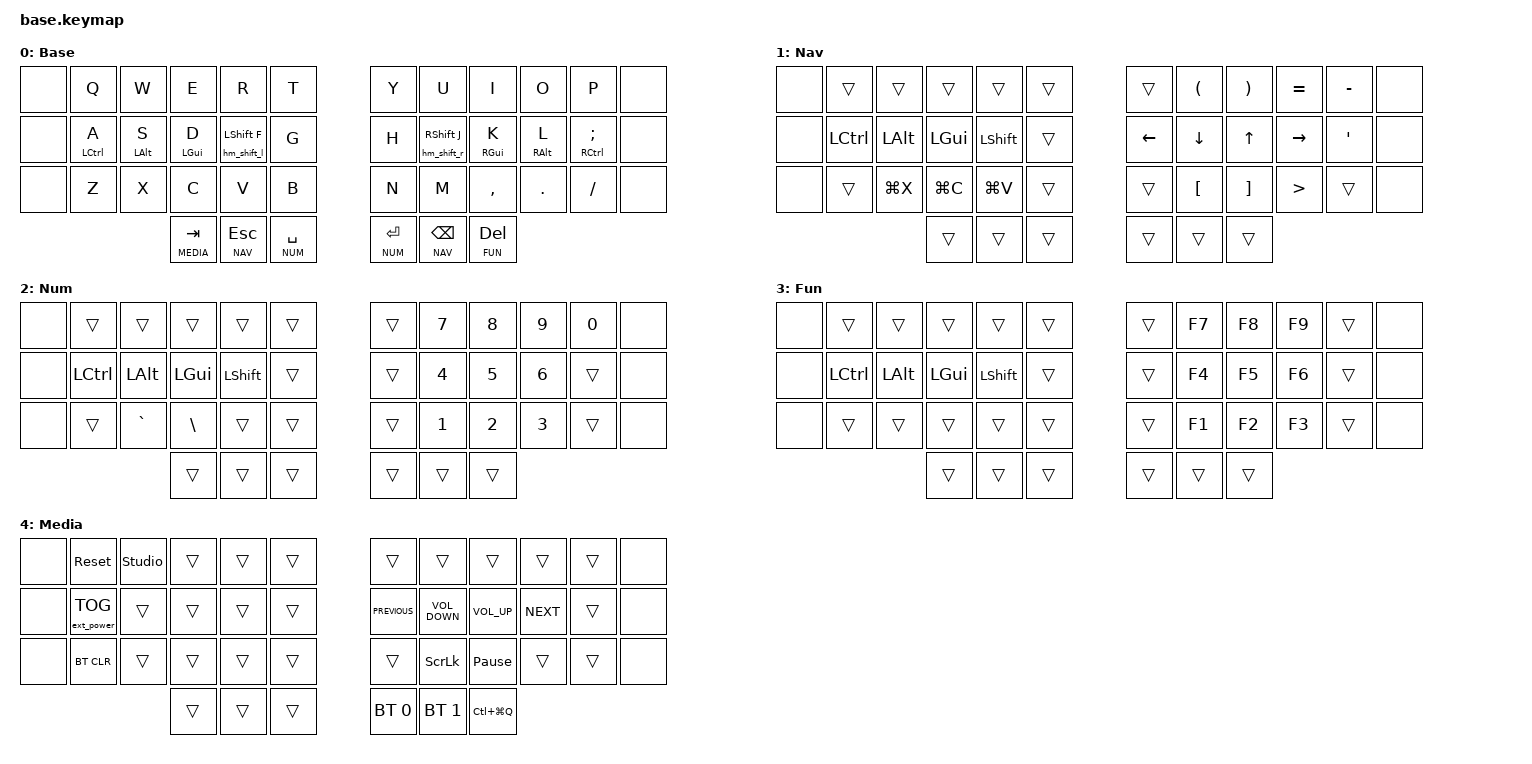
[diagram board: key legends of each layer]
#define BASE 0
#define NAV 1
#define NUM 2
#define FUN 3
#define MEDIA 4

#include <behaviors.dtsi>
#include <dt-bindings/zmk/keys.h>
#include <dt-bindings/zmk/bt.h>
#include <dt-bindings/zmk/ext_power.h>


#include "includes/behaviours_homerow_mods.dtsi"

/ {

  keymap {
    compatible = "zmk,keymap";

    Base_layer {
      display-name = "Base";
      bindings = <
// ╭─────────────────────── ┬────────────────────────┬────────────────────────┬────────────────────────┬────────────────────────┬────────────────────────╮    ╭────────────────────────┬────────────────────────┬────────────────────────┬───────────────────────┬─────────────────────── ┬────────────────────────╮
     &none                     &kp Q                    &kp W                    &kp E                    &kp R                    &kp T                         &kp Y                    &kp U                    &kp I                    &kp O                   &kp P                    &none
// ├─────────────────────── ┼────────────────────────┼────────────────────────┼────────────────────────┼────────────────────────┼────────────────────────┤    ├────────────────────────┼────────────────────────┼────────────────────────┼───────────────────────┼─────────────────────── ┼────────────────────────┤
     &none                     &hm_l LCTRL A            &hm_l LALT S             &hm_l LGUI D             &hm_shift_l LSHFT F      &kp G                         &kp H                    &hm_shift_r RSHFT J      &hm_r RGUI K             &hm_r RALT L            &hm_r RCTRL SEMI         &none
// ├─────────────────────── ┼────────────────────────┼────────────────────────┼────────────────────────┼────────────────────────┼────────────────────────┤    ├────────────────────────┼────────────────────────┼────────────────────────┼───────────────────────┼─────────────────────── ┼────────────────────────┤
     &none                     &kp Z                    &kp X                    &kp C                    &kp V                    &kp B                         &kp N                    &kp M                    &kp COMMA                &kp DOT                &kp SLASH                 &none
// ╰─────────────────────── ┴────────────────────────┴────────────────────────┴────────────────────────┼────────────────────────┼────────────────────────┤    ├────────────────────────┼────────────────────────┼────────────────────────┼───────────────────────┼─────────────────────── ┼────────────────────────╯
                                                                                 &lt MEDIA TAB              &lt NAV ESC             &lt NUM SPACE                  &lt NUM RETURN           &lt NAV BACKSPACE       &lt FUN DELETE
//                                                                            ╰────────────────────────┴────────────────────────┴────────────────────────╯    ╰────────────────────────┴────────────────────────┴────────────────────────╯

      >;
    };

    Nav_layer {
      display-name = "Nav";
      bindings = <
// ╭─────────────────────── ┬────────────────────────┬────────────────────────┬────────────────────────┬────────────────────────┬────────────────────────╮    ╭────────────────────────┬────────────────────────┬────────────────────────┬────────────────────────┬─────────────────────── ┬────────────────────────╮
     &none                    &trans                     &trans                   &trans                    &trans                     &trans                        &trans              &kp LEFT_PARENTHESIS    &kp RIGHT_PARENTHESIS     &kp EQUAL                   &kp MINUS                   &none
// ├─────────────────────── ┼────────────────────────┼────────────────────────┼────────────────────────┼────────────────────────┼────────────────────────┤    ├────────────────────────┼────────────────────────┼────────────────────────┼────────────────────────┼─────────────────────── ┼────────────────────────┤
     &none                    &kp LCTRL                  &kp LALT                   &kp LGUI             &kp LSHFT                     &trans                        &kp LEFT              &kp DOWN                &kp UP                   &kp RIGHT                  &kp SINGLE_QUOTE                   &none
// ├─────────────────────── ┼────────────────────────┼────────────────────────┼────────────────────────┼────────────────────────┼────────────────────────┤    ├────────────────────────┼────────────────────────┼────────────────────────┼────────────────────────┼─────────────────────── ┼────────────────────────┤
     &none                   &trans                     &kp LG(X)                  &kp LG(C)                 &kp LG(V)                &trans                        &trans              &kp LEFT_BRACKET           &kp RIGHT_BRACKET        &kp GREATER_THAN             &trans                 &none
// ╰─────────────────────── ┴────────────────────────┴────────────────────────┴────────────────────────┼────────────────────────┼────────────────────────┤    ├────────────────────────┼────────────────────────┼────────────────────────┼────────────────────────┴─────────────────────── ┼────────────────────────╯
                                                                                &trans                    &trans                     &trans                        &trans                    &trans                    &trans
//                                                                            ╰────────────────────────┴────────────────────────┴────────────────────────╯    ╰────────────────────────┴────────────────────────┴────────────────────────╯
      >;
    };

    Num_layer {
      display-name = "Num";
      bindings = <
// ╭─────────────────────── ┬────────────────────────┬────────────────────────┬────────────────────────┬────────────────────────┬────────────────────────╮    ╭────────────────────────┬────────────────────────┬────────────────────────┬────────────────────────┬─────────────────────── ┬────────────────────────╮
     &none                   &trans                     &trans                    &trans                    &trans                    &trans                      &trans                  &kp N7                     &kp N8                  &kp N9                      &kp N0               &none
// ├─────────────────────── ┼────────────────────────┼────────────────────────┼────────────────────────┼────────────────────────┼────────────────────────┤    ├────────────────────────┼────────────────────────┼────────────────────────┼────────────────────────┼─────────────────────── ┼────────────────────────┤
    &none                   &kp LCTRL                  &kp LALT                   &kp LGUI             &kp LSHFT                  &trans                       &trans                     &kp N4                     &kp N5                  &kp N6                      &trans               &none
// ├─────────────────────── ┼────────────────────────┼────────────────────────┼────────────────────────┼────────────────────────┼────────────────────────┤    ├────────────────────────┼────────────────────────┼────────────────────────┼────────────────────────┼─────────────────────── ┼────────────────────────┤
    &none                     &trans                     &kp GRAVE              &kp BACKSLASH              &trans                    &trans                        &trans                &kp N1                     &kp N2                  &kp N3                   &trans                   &none
// ╰─────────────────────── ┴────────────────────────┴────────────────────────┴────────────────────────┼────────────────────────┼────────────────────────┤    ├────────────────────────┼────────────────────────┼────────────────────────┼────────────────────────┴─────────────────────── ┼────────────────────────╯
                                                                                &trans                    &trans                     &trans                        &trans                     &trans                   &trans
//                                                                            ╰────────────────────────┴────────────────────────┴────────────────────────╯    ╰────────────────────────┴────────────────────────┴────────────────────────╯
      >;
    };

    Fun_layer {
      display-name = "Fun";
      bindings = <
// ╭─────────────────────── ┬────────────────────────┬────────────────────────┬────────────────────────┬────────────────────────┬────────────────────────╮    ╭────────────────────────┬────────────────────────┬────────────────────────┬────────────────────────┬─────────────────────── ┬────────────────────────╮
     &none                    &trans                     &trans                   &trans                    &trans                     &trans                        &trans                    &kp F7                     &kp F8                  &kp F9                     &trans                   &none
// ├─────────────────────── ┼────────────────────────┼────────────────────────┼────────────────────────┼────────────────────────┼────────────────────────┤    ├────────────────────────┼────────────────────────┼────────────────────────┼────────────────────────┼─────────────────────── ┼────────────────────────┤
     &none                   &kp LCTRL                  &kp LALT                   &kp LGUI             &kp LSHFT                      &trans                        &trans                     &kp F4                     &kp F5                  &kp F6                    &trans                    &none
// ├─────────────────────── ┼────────────────────────┼────────────────────────┼────────────────────────┼────────────────────────┼────────────────────────┤    ├────────────────────────┼────────────────────────┼────────────────────────┼────────────────────────┼─────────────────────── ┼────────────────────────┤
    &none                    &trans                     &trans                   &trans                    &trans                     &trans                        &trans                    &kp F1                     &kp F2                  &kp F3                    &trans                   &none
// ╰─────────────────────── ┴────────────────────────┴────────────────────────┴────────────────────────┼────────────────────────┼────────────────────────┤    ├────────────────────────┼────────────────────────┼────────────────────────┼────────────────────────┴─────────────────────── ┼────────────────────────╯
                                                                                &trans                    &trans                     &trans                        &trans                    &trans                    &trans
//                                                                            ╰────────────────────────┴────────────────────────┴────────────────────────╯    ╰────────────────────────┴────────────────────────┴────────────────────────╯
      >;
    };

    Media_layer {
      display-name = "Media";
      bindings = <
// ╭─────────────────────── ┬────────────────────────┬────────────────────────┬────────────────────────┬────────────────────────┬────────────────────────╮    ╭────────────────────────┬────────────────────────┬────────────────────────┬────────────────────────┬────────────────────────┬ ───────────────────────╮
       &none                 &sys_reset                &studio_unlock                  &trans                    &trans                     &trans                        &trans                 &trans                    &trans                    &trans                    &trans                    &none
// ├─────────────────────── ┼────────────────────────┼────────────────────────┼────────────────────────┼────────────────────────┼────────────────────────┤    ├────────────────────────┼────────────────────────┼────────────────────────┼────────────────────────┼────────────────────────┼ ───────────────────────┤
     &none                  &ext_power EP_TOG         &trans                   &trans                    &trans                     &trans                        &kp C_PREVIOUS        &kp K_VOLUME_DOWN        &kp K_VOLUME_UP           &kp C_NEXT                    &trans                   &none
// ├─────────────────────── ┼────────────────────────┼────────────────────────┼────────────────────────┼────────────────────────┼────────────────────────┤    ├────────────────────────┼────────────────────────┼────────────────────────┼────────────────────────┼────────────────────────┼ ───────────────────────┤
     &none                      &bt BT_CLR                     &trans                   &trans                    &trans                     &trans                   &trans               &kp SLCK            &kp PAUSE_BREAK           &trans                    &trans                    &none
// ╰─────────────────────── ┴────────────────────────┴────────────────────────┴────────────────────────┼────────────────────────┼────────────────────────┤    ├────────────────────────┼────────────────────────┼────────────────────────┼────────────────────────┴────────────────────────┼ ───────────────────────╯
                                                                                &trans                    &trans                     &trans                        &bt BT_SEL 0            &bt BT_SEL 1            &kp LC(LG(Q))
//                                                                            ╰────────────────────────┴────────────────────────┴────────────────────────╯    ╰────────────────────────┴────────────────────────┴────────────────────────╯
      >;
    };
  };
};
